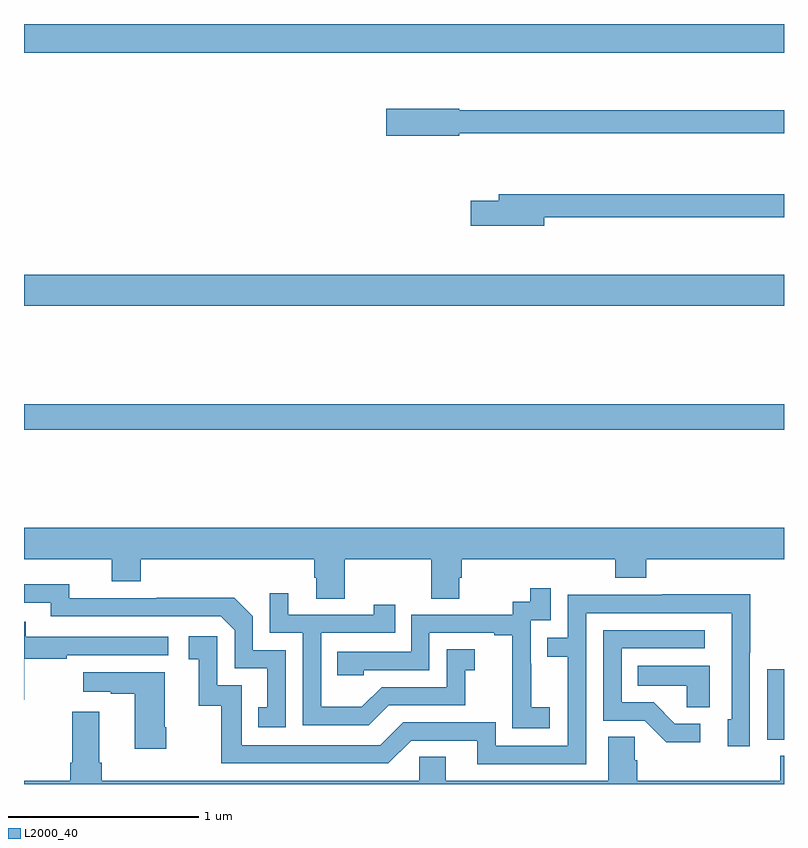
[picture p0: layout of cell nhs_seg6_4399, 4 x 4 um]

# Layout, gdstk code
import gdstk
lib = gdstk.Library(unit=1e-6, precision=1e-09)
def R(c, l, rs):  # rectangles x0, y0, x1, y1
    for r in rs: c.add(gdstk.rectangle(r[:2], r[2:], *l))
def P(c, l, *ps):  # polygons
    for p in ps: c.add(gdstk.Polygon(p, *l))
L2000_40 = (2000, 40)

nhs_seg6_4399 = lib.new_cell('nhs_seg6_4399')
R(nhs_seg6_4399, L2000_40, [(374.913,931.734,375,932.104), (371,933.364,375,933.5), (371,934.016,375,934.18), (371,935.348,375,935.5)])
P(nhs_seg6_4399, L2000_40, [(373.29,934.926),(375,934.926),(375,935.047),(373.29,935.047),(373.29,935.055),(372.906,935.055),(372.906,934.913),(373.29,934.913)],
  [(373.738,934.482),(375,934.482),(375,934.603),(373.499,934.603),(373.499,934.569),(373.35,934.569),(373.35,934.439),(373.738,934.439)],
  [(372.687,932.684),(373.144,932.684),(373.144,932.476),(373.291,932.476),(373.291,932.586),(373.304,932.586),(373.304,932.684),(374.111,932.684),(374.111,932.585),(374.276,932.585),(374.276,932.684),(375,932.684),(375,932.848),(371,932.848),(371,932.684),(371.462,932.684),(371.462,932.567),(371.615,932.567),(371.615,932.684),(372.527,932.684),(372.527,932.586),(372.539,932.586),(372.539,932.476),(372.687,932.476)],
  [(372.378,932.205),(372.204,932.205),(372.204,932.382),(372.106,932.48),(371.698,932.48),(371.698,932.478),(371.238,932.478),(371.238,932.551),(371,932.551),(371,932.454),(371.142,932.454),(371.142,932.382),(372.036,932.382),(372.108,932.31),(372.108,932.109),(372.281,932.109),(372.281,931.905),(372.232,931.905),(372.232,931.8),(372.378,931.8)],
  [(373.768,931.903),(373.67,931.903),(373.67,932.132),(373.668,932.132),(373.668,932.361),(373.773,932.361),(373.773,932.53),(373.665,932.53),(373.665,932.46),(373.572,932.46),(373.572,932.391),(373.038,932.391),(373.038,932.196),(372.649,932.196),(372.649,932.073),(372.789,932.073),(372.789,932.1),(373.134,932.1),(373.134,932.295),(373.475,932.295),(373.475,932.283),(373.571,932.283),(373.571,931.999),(373.57,931.999),(373.57,931.793),(373.768,931.793)],
  [(372.919,931.914),(373.323,931.914),(373.323,932.099),(373.372,932.099),(373.372,932.209),(373.224,932.209),(373.224,932.01),(372.882,932.01),(372.778,931.906),(372.564,931.906),(372.564,932.295),(372.953,932.295),(372.953,932.443),(372.842,932.443),(372.842,932.391),(372.391,932.391),(372.391,932.503),(372.294,932.503),(372.294,932.295),(372.468,932.295),(372.468,931.809),(372.814,931.809)],
  [(373.959,932.4),(374.724,932.4),(374.724,931.842),(374.705,931.842),(374.705,931.698),(374.82,931.698),(374.82,932.191),(374.823,932.191),(374.823,932.498),(374.359,932.498),(374.359,932.496),(373.863,932.496),(373.863,932.271),(373.753,932.271),(373.753,932.17),(373.863,932.17),(373.863,931.701),(373.482,931.701),(373.482,931.824),(372.996,931.824),(372.876,931.704),(372.147,931.704),(372.147,932.019),(372.018,932.019),(372.018,932.278),(371.868,932.278),(371.868,932.157),(371.921,932.157),(371.921,931.911),(372.039,931.911),(372.039,931.608),(372.918,931.608),(373.038,931.728),(373.385,931.728),(373.385,931.605),(373.959,931.605)],
  [(371.002,932.158),(371.225,932.158),(371.225,932.178),(371.758,932.178),(371.758,932.274),(371.009,932.274),(371.009,932.353),(371,932.353),(371,931.944),(371.002,931.944)],
  [(374.56,931.818),(374.425,931.818),(374.314,931.929),(374.145,931.929),(374.145,932.214),(374.584,932.214),(374.584,932.31),(374.049,932.31),(374.049,931.833),(374.268,931.833),(374.381,931.721),(374.56,931.721)],
  [(374.608,932.122),(374.23,932.122),(374.23,932.018),(374.487,932.018),(374.487,931.903),(374.608,931.903)],
  [(371.748,931.798),(371.74,931.798),(371.74,932.089),(371.313,932.089),(371.313,931.985),(371.456,931.985),(371.456,931.975),(371.582,931.975),(371.582,931.686),(371.748,931.686)],
  [(375,931.649),(374.981,931.649),(374.981,931.516),(374.228,931.516),(374.228,931.625),(374.214,931.625),(374.214,931.748),(374.075,931.748),(374.075,931.516),(373.219,931.516),(373.219,931.643),(373.08,931.643),(373.08,931.516),(371.408,931.516),(371.408,931.612),(371.395,931.612),(371.395,931.879),(371.255,931.879),(371.255,931.612),(371.243,931.612),(371.243,931.516),(371,931.516),(371,931.5),(375,931.5)])

lib.write_gds('nhs_seg6_4399.gds')
